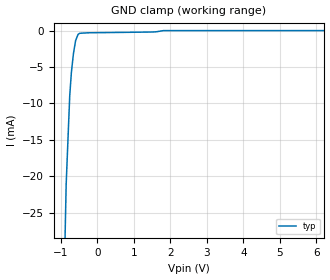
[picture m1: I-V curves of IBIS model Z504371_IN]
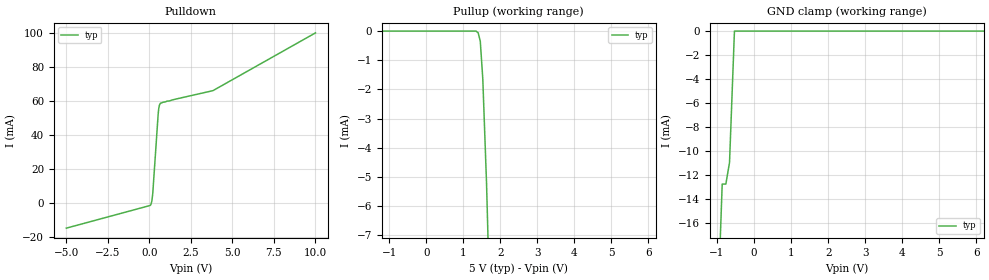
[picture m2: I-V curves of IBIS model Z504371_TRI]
| YOU ARE ONLY AUTHORIZED TO USE THIS SOFTWARE
| ACCORDING TO LICENSOR'S LICENSE RESTRICTIONS.
[IBIS Ver] 3.1
[File Name] sn54ls125aj.ibs
[File Rev] 2.0
[Source] Measured and created by ICX Technology
[Date] Friday 7/14/00 9:08:13 AM
[Copyright]
| (C) COPYRIGHT 1993-2000
| MENTOR GRAPHICS CORPORATION
| ICX STANDARD LIBRARY, ICX PROJECT MODELING,
| ICX CUSTOM MODELING, ICX VENDOR MODEL
| ALL RIGHTS RESERVED.
| THE FOLLOWING ARE TRADEMARKS OR SERVICE MARKS OF
| MENTOR GRAPHICS CORPORATION:ICX (R), ICX STANDARD
| LIBRARY(R), ICX PROJECT MODELING(R), ICX CUSTOM
| MODELING(R), qualityIBIS(TM), MODELVIEWER(TM),
| AND MODELEDITOR(TM)
| ALL COPIES OF SOFTWARE, INCLUDING BUT NOT LIMITED TO
| ANY MODIFICATIONS, ENHANCEMENTS OR DERIVATIVE WORKS,
| MUST CONTAIN ALL MENTOR GRAPHICS CORPORATION'S
| NOTICES AND LEGENDS, INCLUDING THOSE EMBEDDED IN
| SOFTWARE AND THOSE AFFIXED TO SOFTWARE MEDIUM
| AND CONTAINER, AS RECEIVED FROM MENTOR GRAPHICS
| CORPORATION.
|  ZAP Model Builder 2.7
[Component] SN54LS125AJ
[Manufacturer] OnSemiconductor
[Package]
| variable   typ   min   max
R_pkg  .21ohms NA NA
L_pkg  4.543nH NA NA
C_pkg  1.8pF NA NA
[Pin] signal_name  model_name  R_pin  L_pin C_pin
1 _G Z504371_IN .22 6.757n 2.434p
2 A Z504371_IN .212 4.757n 1.941p
3 Y Z504371_TRI .204 3.257n 1.448p
4 _G Z504371_IN .196 2.257n .955p
5 A Z504371_IN .204 3.257n 1.448p
6 Y Z504371_TRI .212 4.757n 1.941p
7 GND GND .22 6.757n 2.434p
8 Y Z504371_TRI .22 6.757n 2.434p
9 A Z504371_IN .212 4.757n 1.941p
10 _G Z504371_IN .204 3.257n 1.448p
11 Y Z504371_TRI .196 2.257n .955p
12 A Z504371_IN .204 3.257n 1.448p
13 _G Z504371_IN .212 4.757n 1.941p
14 VCC POWER .22 6.757n 2.434p
| Models and submodels in the file (2): Z504371_IN (Input), Z504371_TRI (3-state)
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| (C) COPYRIGHT 1993-2000
| MENTOR GRAPHICS CORPORATION
| ICX STANDARD LIBRARY, ICX PROJECT MODELING,
| ICX CUSTOM MODELING, ICX VENDOR MODEL
| ALL RIGHTS RESERVED.
| THE FOLLOWING ARE TRADEMARKS OR SERVICE MARKS OF
| MENTOR GRAPHICS CORPORATION:ICX (R), ICX STANDARD
| LIBRARY(R), ICX PROJECT MODELING(R), ICX CUSTOM
| MODELING(R), qualityIBIS(TM), MODELVIEWER(TM),
| AND MODELEDITOR(TM)
| ALL COPIES OF SOFTWARE, INCLUDING BUT NOT LIMITED TO
| ANY MODIFICATIONS, ENHANCEMENTS OR DERIVATIVE WORKS,
| MUST CONTAIN ALL MENTOR GRAPHICS CORPORATION'S
| NOTICES AND LEGENDS, INCLUDING THOSE EMBEDDED IN
| SOFTWARE AND THOSE AFFIXED TO SOFTWARE MEDIUM
| AND CONTAINER, AS RECEIVED FROM MENTOR GRAPHICS
| CORPORATION.
| Model Application Version 1.89 2/18/99.
[Model] Z504371_IN
Model_type Input
Vinl = 800.0mV
Vinh = 2.000V
C_comp 4.000pF NA NA
| variable typ   min   max
[Voltage Range] 5.000V NA NA
[GND Clamp Reference] 0.000V NA NA
[POWER Clamp Reference] 5.000V NA NA
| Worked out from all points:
|   GND clamp passes 1 mA (typ) near -0.57 V on its own axis
[GND Clamp]
-5V       -1.013A    NA         NA
-853.7mV  -21.09mA   NA         NA
-756.8mV  -9.003mA   NA         NA
-712.2mV  -5.788mA   NA         NA
-654.3mV  -3.138mA   NA         NA
-595.6mV  -1.379mA   NA         NA
-527.1mV  -515.6uA   NA         NA
-483.3mV  -371.3uA   NA         NA
1.466V    -198.9uA   NA         NA
1.807V    -3.352uA   NA         NA
10V       903.5nA    NA         NA
[POWER Clamp]
-5V       0A         NA         NA
10V       0A         NA         NA
| (C) COPYRIGHT 1993-2000
| MENTOR GRAPHICS CORPORATION
| ICX STANDARD LIBRARY, ICX PROJECT MODELING,
| ICX CUSTOM MODELING, ICX VENDOR MODEL
| ALL RIGHTS RESERVED.
| THE FOLLOWING ARE TRADEMARKS OR SERVICE MARKS OF
| MENTOR GRAPHICS CORPORATION:ICX (R), ICX STANDARD
| LIBRARY(R), ICX PROJECT MODELING(R), ICX CUSTOM
| MODELING(R), qualityIBIS(TM), MODELVIEWER(TM),
| AND MODELEDITOR(TM)
| ALL COPIES OF SOFTWARE, INCLUDING BUT NOT LIMITED TO
| ANY MODIFICATIONS, ENHANCEMENTS OR DERIVATIVE WORKS,
| MUST CONTAIN ALL MENTOR GRAPHICS CORPORATION'S
| NOTICES AND LEGENDS, INCLUDING THOSE EMBEDDED IN
| SOFTWARE AND THOSE AFFIXED TO SOFTWARE MEDIUM
| AND CONTAINER, AS RECEIVED FROM MENTOR GRAPHICS
| CORPORATION.
| Model Application Version 1.89 2/18/99.
[Model] Z504371_TRI
Model_type 3-state
Vref=588.0mV
Rref=588.5ohms
Cref=45.00pF
Vmeas=1.300V
C_comp 8.000pF NA NA
| variable typ   min   max
[Voltage Range] 5.000V NA NA
[POWER Clamp Reference] 5.000V NA NA
[Pullup Reference] 5.000V NA NA
[Pulldown Reference] 0.000V NA NA
[GND Clamp Reference] 0.000V NA NA
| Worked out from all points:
|   slope of the pulldown table from 0 to 0.75 V, typ, clamps not added: 12.4 ohm
|   GND clamp passes 1 mA (typ) near -0.54 V on its own axis
[GND Clamp]
-5V       -928.2mA   NA         NA
-1.284V   -72.57mA   NA         NA
-1.102V   -38.72mA   NA         NA
-1.014V   -26.06mA   NA         NA
-861.3mV  -12.74mA   NA         NA
-762.5mV  -12.74mA   NA         NA
-663.6mV  -10.94mA   NA         NA
-530.9mV  0A         NA         NA
10V       0A         NA         NA
[Pulldown]
-5V       -14.84mA   NA         NA
87.89mV   -1.065mA   NA         NA
151.3mV   1.044mA    NA         NA
204.7mV   5.454mA    NA         NA
532.3mV   52.46mA    NA         NA
566.5mV   55.62mA    NA         NA
605.4mV   57.58mA    NA         NA
662.8mV   58.71mA    NA         NA
3.828V    66.17mA    NA         NA
10V       100.2mA    NA         NA
[Pullup]
-5V       -328.8nA   NA         NA
1.344V    -328.8nA   NA         NA
1.403V    -57.32uA   NA         NA
1.46V     -344.2uA   NA         NA
1.528V    -1.628mA   NA         NA
1.63V     -5.242mA   NA         NA
10V       -403.4mA   NA         NA
[POWER Clamp]
-5V       0A         NA         NA
10V       0A         NA         NA
[Ramp]
| variable typ min max
dV/dt_r 1.936/4.923n NA NA
dV/dt_f 1.936/1.498n NA NA
R_load = 500.0Ohms
